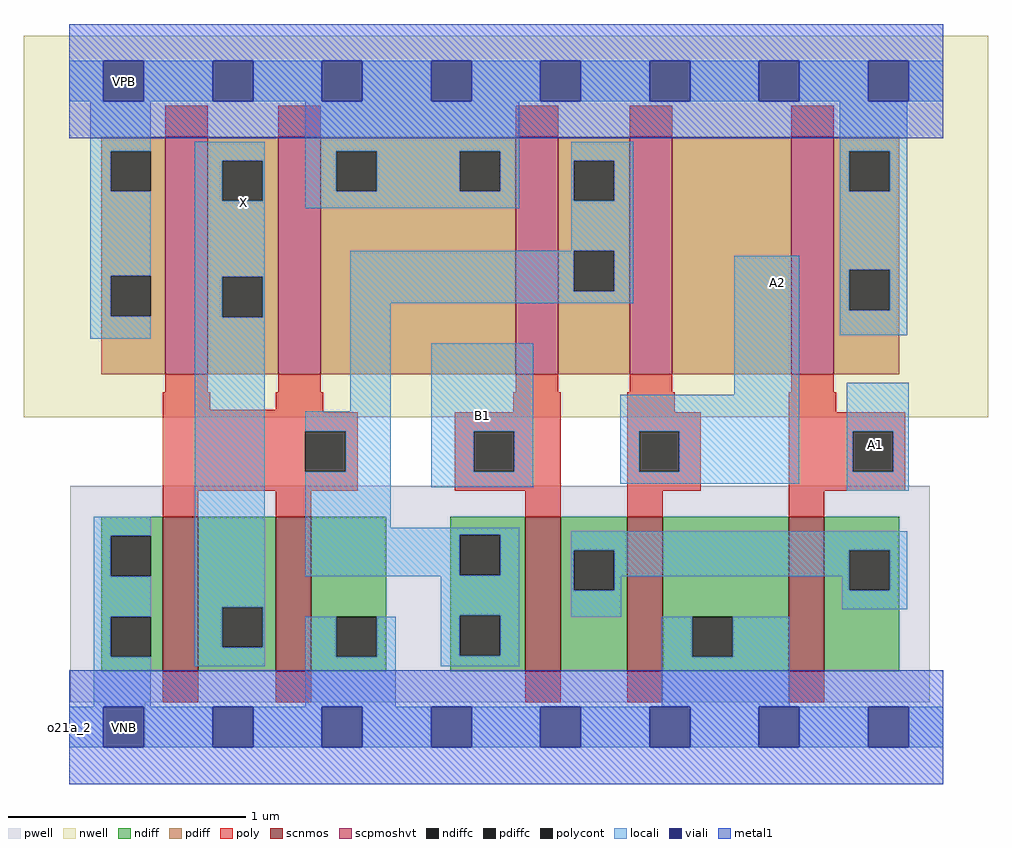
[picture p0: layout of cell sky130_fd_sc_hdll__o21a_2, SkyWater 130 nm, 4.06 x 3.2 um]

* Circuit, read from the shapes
.subckt sky130_fd_sc_hdll__o21a_2 A1 A2 B1 VGND VNB VPB VPWR X
XM1 X n1 VGND VNB sky130_fd_pr__nfet_01v8 w=0.65 l=0.15 m=2
XM2 n2 B1 n1 VNB sky130_fd_pr__nfet_01v8 w=0.65 l=0.15
XM3 VGND A2 n2 VNB sky130_fd_pr__nfet_01v8 w=0.65 l=0.15
XM4 n2 A1 VGND VNB sky130_fd_pr__nfet_01v8 w=0.65 l=0.15
XM5 X n1 VPWR VPB sky130_fd_pr__pfet_01v8_hvt w=1 l=0.18 m=2
XM6 n1 B1 VPWR VPB sky130_fd_pr__pfet_01v8_hvt w=1 l=0.18
XM7 n3 A2 n1 VPB sky130_fd_pr__pfet_01v8_hvt w=1 l=0.18
XM8 VPWR A1 n3 VPB sky130_fd_pr__pfet_01v8_hvt w=1 l=0.18
.ends

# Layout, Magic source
magic
tech sky130A
magscale 1 2
<< nwell >>
rect -38 261 774 582
<< pwell >>
rect 1 21 725 203
rect 30 -17 64 21
<< scnmos >>
rect 79 47 109 177
rect 174 47 204 177
rect 384 47 414 177
rect 470 47 500 177
rect 606 47 636 177
<< scpmoshvt >>
rect 81 297 117 497
rect 176 297 212 497
rect 376 297 412 497
rect 472 297 508 497
rect 608 297 644 497
<< ndiff >>
rect 27 161 79 177
rect 27 127 35 161
rect 69 127 79 161
rect 27 93 79 127
rect 27 59 35 93
rect 69 59 79 93
rect 27 47 79 59
rect 109 101 174 177
rect 109 67 129 101
rect 163 67 174 101
rect 109 47 174 67
rect 204 93 267 177
rect 204 59 225 93
rect 259 59 267 93
rect 204 47 267 59
rect 321 162 384 177
rect 321 128 329 162
rect 363 128 384 162
rect 321 94 384 128
rect 321 60 329 94
rect 363 60 384 94
rect 321 47 384 60
rect 414 149 470 177
rect 414 115 425 149
rect 459 115 470 149
rect 414 47 470 115
rect 500 93 606 177
rect 500 59 525 93
rect 559 59 606 93
rect 500 47 606 59
rect 636 149 699 177
rect 636 115 657 149
rect 691 115 699 149
rect 636 47 699 115
<< pdiff >>
rect 27 485 81 497
rect 27 451 35 485
rect 69 451 81 485
rect 27 380 81 451
rect 27 346 35 380
rect 69 346 81 380
rect 27 297 81 346
rect 117 477 176 497
rect 117 443 129 477
rect 163 443 176 477
rect 117 379 176 443
rect 117 345 129 379
rect 163 345 176 379
rect 117 297 176 345
rect 212 485 376 497
rect 212 451 225 485
rect 259 451 329 485
rect 363 451 376 485
rect 212 297 376 451
rect 412 477 472 497
rect 412 443 425 477
rect 459 443 472 477
rect 412 401 472 443
rect 412 367 425 401
rect 459 367 472 401
rect 412 297 472 367
rect 508 297 608 497
rect 644 485 699 497
rect 644 451 657 485
rect 691 451 699 485
rect 644 385 699 451
rect 644 351 657 385
rect 691 351 699 385
rect 644 297 699 351
<< ndiffc >>
rect 35 127 69 161
rect 35 59 69 93
rect 129 67 163 101
rect 225 59 259 93
rect 329 128 363 162
rect 329 60 363 94
rect 425 115 459 149
rect 525 59 559 93
rect 657 115 691 149
<< pdiffc >>
rect 35 451 69 485
rect 35 346 69 380
rect 129 443 163 477
rect 129 345 163 379
rect 225 451 259 485
rect 329 451 363 485
rect 425 443 459 477
rect 425 367 459 401
rect 657 451 691 485
rect 657 351 691 385
<< poly >>
rect 81 497 117 523
rect 176 497 212 523
rect 376 497 412 523
rect 472 497 508 523
rect 608 497 644 523
rect 81 282 117 297
rect 176 282 212 297
rect 376 282 412 297
rect 472 282 508 297
rect 608 282 644 297
rect 79 267 119 282
rect 174 267 214 282
rect 79 265 214 267
rect 374 265 414 282
rect 79 249 243 265
rect 79 215 199 249
rect 233 215 243 249
rect 79 199 243 215
rect 325 249 414 265
rect 325 215 341 249
rect 375 215 414 249
rect 325 199 414 215
rect 79 177 109 199
rect 174 177 204 199
rect 384 177 414 199
rect 470 265 510 282
rect 606 265 646 282
rect 470 249 532 265
rect 470 215 480 249
rect 514 215 532 249
rect 470 199 532 215
rect 606 249 704 265
rect 606 215 660 249
rect 694 215 704 249
rect 606 199 704 215
rect 470 177 500 199
rect 606 177 636 199
rect 79 21 109 47
rect 174 21 204 47
rect 384 21 414 47
rect 470 21 500 47
rect 606 21 636 47
<< polycont >>
rect 199 215 233 249
rect 341 215 375 249
rect 480 215 514 249
rect 660 215 694 249
<< locali >>
rect 0 527 29 561
rect 63 527 121 561
rect 155 527 213 561
rect 247 527 305 561
rect 339 527 397 561
rect 431 527 489 561
rect 523 527 581 561
rect 615 527 673 561
rect 707 527 736 561
rect 18 485 69 527
rect 18 451 35 485
rect 18 380 69 451
rect 18 346 35 380
rect 18 327 69 346
rect 106 477 165 493
rect 106 443 129 477
rect 163 443 165 477
rect 106 379 165 443
rect 199 485 379 527
rect 199 451 225 485
rect 259 451 329 485
rect 363 451 379 485
rect 199 437 379 451
rect 423 477 475 493
rect 423 443 425 477
rect 459 443 475 477
rect 423 401 475 443
rect 106 345 129 379
rect 163 345 165 379
rect 21 161 69 177
rect 21 127 35 161
rect 21 93 69 127
rect 21 59 35 93
rect 21 17 69 59
rect 106 101 165 345
rect 237 367 425 401
rect 459 367 475 401
rect 649 485 706 527
rect 649 451 657 485
rect 691 451 706 485
rect 237 357 475 367
rect 237 266 271 357
rect 199 249 271 266
rect 233 215 271 249
rect 199 168 271 215
rect 305 249 391 323
rect 560 280 615 397
rect 649 385 706 451
rect 649 351 657 385
rect 691 351 706 385
rect 649 330 706 351
rect 305 215 341 249
rect 375 215 391 249
rect 305 202 391 215
rect 464 249 615 280
rect 464 215 480 249
rect 514 215 615 249
rect 464 205 615 215
rect 655 249 707 290
rect 655 215 660 249
rect 694 215 707 249
rect 655 199 707 215
rect 199 162 379 168
rect 199 128 329 162
rect 363 128 379 162
rect 199 127 379 128
rect 106 67 129 101
rect 163 67 165 101
rect 313 94 379 127
rect 106 51 165 67
rect 199 59 225 93
rect 259 59 275 93
rect 199 17 275 59
rect 313 60 329 94
rect 363 60 379 94
rect 423 149 706 165
rect 423 115 425 149
rect 459 127 657 149
rect 459 115 465 127
rect 423 93 465 115
rect 651 115 657 127
rect 691 115 706 149
rect 651 99 706 115
rect 313 51 379 60
rect 499 59 525 93
rect 559 59 607 93
rect 499 17 607 59
rect 0 -17 29 17
rect 63 -17 121 17
rect 155 -17 213 17
rect 247 -17 305 17
rect 339 -17 397 17
rect 431 -17 489 17
rect 523 -17 581 17
rect 615 -17 673 17
rect 707 -17 736 17
<< viali >>
rect 29 527 63 561
rect 121 527 155 561
rect 213 527 247 561
rect 305 527 339 561
rect 397 527 431 561
rect 489 527 523 561
rect 581 527 615 561
rect 673 527 707 561
rect 29 -17 63 17
rect 121 -17 155 17
rect 213 -17 247 17
rect 305 -17 339 17
rect 397 -17 431 17
rect 489 -17 523 17
rect 581 -17 615 17
rect 673 -17 707 17
<< metal1 >>
rect 0 561 736 592
rect 0 527 29 561
rect 63 527 121 561
rect 155 527 213 561
rect 247 527 305 561
rect 339 527 397 561
rect 431 527 489 561
rect 523 527 581 561
rect 615 527 673 561
rect 707 527 736 561
rect 0 496 736 527
rect 0 17 736 48
rect 0 -17 29 17
rect 63 -17 121 17
rect 155 -17 213 17
rect 247 -17 305 17
rect 339 -17 397 17
rect 431 -17 489 17
rect 523 -17 581 17
rect 615 -17 673 17
rect 707 -17 736 17
rect 0 -48 736 -17
<< labels >>
flabel locali s 662 221 696 255 0 FreeSans 340 0 0 0 A1
port 1 nsew signal input
flabel locali s 305 202 391 323 0 FreeSans 340 0 0 0 B1
port 3 nsew signal input
flabel locali s 580 357 614 391 0 FreeSans 340 0 0 0 A2
port 2 nsew signal input
flabel locali s 130 425 164 459 0 FreeSans 340 0 0 0 X
port 8 nsew signal output
flabel pwell s 30 -17 64 17 0 FreeSans 200 0 0 0 VNB
port 5 nsew ground bidirectional
flabel nwell s 30 527 64 561 0 FreeSans 200 0 0 0 VPB
port 6 nsew power bidirectional
flabel metal1 s 30 -17 64 17 0 FreeSans 200 0 0 0 VGND
port 4 nsew ground bidirectional
flabel metal1 s 30 527 64 561 0 FreeSans 200 0 0 0 VPWR
port 7 nsew power bidirectional
rlabel comment s 0 0 0 0 4 o21a_2
<< properties >>
string LEFsite unithd
string LEFclass CORE
string FIXED_BBOX 0 0 736 544
string GDS_FILE $PDKPATH/libs.ref/sky130_fd_sc_hdll/gds/sky130_fd_sc_hdll.gds
string LEFsymmetry X Y R90
string GDS_END 920666
string GDS_START 914870
string LEFproperties maskLayoutSubType "abstract" prCellType "standard" originalViewName "layout"
<< end >>
